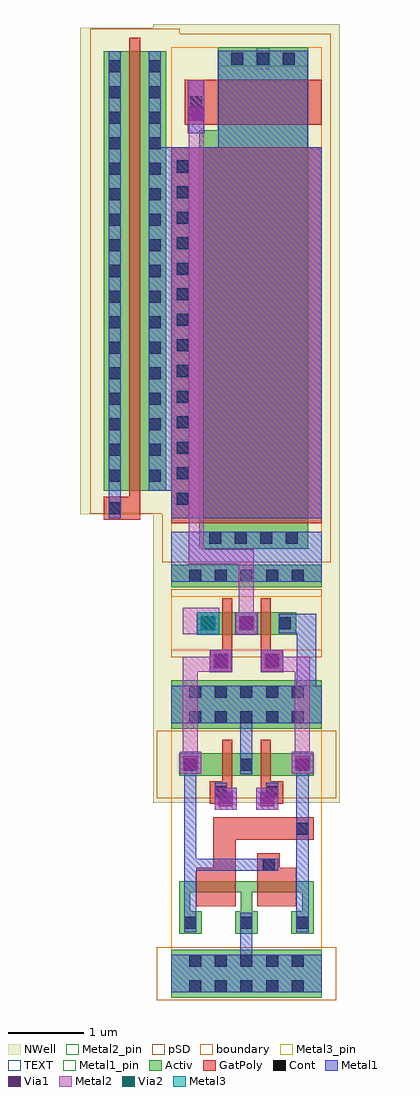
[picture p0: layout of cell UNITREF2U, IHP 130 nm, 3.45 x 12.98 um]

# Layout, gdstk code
from math import pi, radians
import gdstk
lib = gdstk.Library(unit=1e-6, precision=1e-09)
def R(c, l, rs):  # rectangles x0, y0, x1, y1
    for r in rs: c.add(gdstk.rectangle(r[:2], r[2:], *l))
def A(c, l, x, y, w, h, nx, ny, dx, dy):  # array of equal rectangles
    R(c, l, [(x+i*dx, y+j*dy, x+i*dx+w, y+j*dy+h) for i in range(nx) for j in range(ny)])
Activ = (1, 0)
GatPoly = (5, 0)
Cont = (6, 0)
Metal1 = (8, 0)
Metal1_pin = (8, 2)
Metal2 = (10, 0)
Metal2_pin = (10, 2)
pSD = (14, 0)
Via1 = (19, 0)
Via2 = (29, 0)
Metal3 = (30, 0)
Metal3_pin = (30, 2)
NWell = (31, 0)
TEXT = (63, 0)
boundary = (189, 4)

feol_contacts_4 = lib.new_cell('FEOL$contacts$4')
A(feol_contacts_4, Cont, 0.175, 0, 0.16, 0.16, 14, 1, 0.34, 0)
R(feol_contacts_4, Metal1, [(0,0,4.93,0.16)])

feol_contacts_7 = lib.new_cell('FEOL$contacts$7')
A(feol_contacts_7, Cont, 0.135, 0, 0.16, 0.16, 4, 1, 0.34, 0)
R(feol_contacts_7, Metal1, [(0,0,1.45,0.16)])

feol_contacts_5 = lib.new_cell('FEOL$contacts$5')
A(feol_contacts_5, Cont, 0.2, 0, 0.16, 0.16, 5, 1, 0.34, 0)
R(feol_contacts_5, Metal1, [(0,0,1.92,0.16)])

feol_contacts_6 = lib.new_cell('FEOL$contacts$6')
A(feol_contacts_6, Cont, 0.16, 0, 0.16, 0.16, 3, 1, 0.34, 0)
R(feol_contacts_6, Metal1, [(0,0,1.16,0.16)])

feol_contacts_1 = lib.new_cell('FEOL$contacts$1')
R(feol_contacts_1, Cont, [(0.18,0,0.34,0.16)])
R(feol_contacts_1, Metal1, [(0,0,0.52,0.16)])

pcsource2u = lib.new_cell('PCSOURCE2U')
R(pcsource2u, Activ, [(-1,-6.3,1,-6), (-0.63,-5.79,0.82,-0.22), (-0.38,-0.38,0.82,0.88)])
R(pcsource2u, GatPoly, [(-1,-5.45,1,-0.45), (-0.82,-0.15,1,0.45)])
R(pcsource2u, Metal1, [(-1,-6.23,1,-5.56), (-1,-5.38,1,-0.45), (-0.78,-0.265,-0.56,0.445), (-0.375,0.625,0.815,0.835)])
R(pcsource2u, Metal1_pin, [(-1,-6.23,1,-5.56), (-1,-5.38,1,-0.45), (-0.375,0.625,0.815,0.835)])
R(pcsource2u, Metal2, [(-0.78,-0.145,-0.56,0.445)])
R(pcsource2u, Metal2_pin, [(-0.775,-0.145,-0.565,0.445)])
R(pcsource2u, pSD, [(-1.12,-5.97,1.12,1.06)])
R(pcsource2u, Via1, [(-0.765,-0.095,-0.575,0.095)])
R(pcsource2u, NWell, [(-1.24,-6.54,1.24,1.19)])
R(pcsource2u, TEXT, [(0.14,0.585,0.3,0.875), (0.125,0.635,0.315,0.825)])
R(pcsource2u, boundary, [(-1,-6.3,1,0.88)])
pcsource2u.add(gdstk.Reference(feol_contacts_4, (-0.77,-5.38), rotation=pi/2))
pcsource2u.add(gdstk.Reference(feol_contacts_7, (-0.63,-5.72)))
pcsource2u.add(gdstk.Reference(feol_contacts_5, (-0.96,-6.23)))
pcsource2u.add(gdstk.Reference(feol_contacts_6, (-0.36,0.65)))
pcsource2u.add(gdstk.Reference(feol_contacts_1, (-0.59,-0.11), rotation=pi/2))
pcsource2u.add(gdstk.Label('Iout', (0.22,0.73), layer=8, texttype=2))
pcsource2u.add(gdstk.Label('VbiasP', (0,-2.915), layer=8, texttype=2))
pcsource2u.add(gdstk.Label('VDD', (0,-5.895), layer=8, texttype=2))
pcsource2u.add(gdstk.Label('VcascodeP', (-0.67,0), layer=10, texttype=2))

feol_contacts_2 = lib.new_cell('FEOL$contacts$2')
R(feol_contacts_2, Cont, [(0.05,0,0.21,0.16)])
R(feol_contacts_2, Metal1, [(0,0,0.26,0.16)])

via_stack_2 = lib.new_cell('via_stack$2')
R(via_stack_2, Metal1, [(-0.145,-0.145,0.145,0.145)])
R(via_stack_2, Metal2, [(-0.145,-0.145,0.145,0.145)])
R(via_stack_2, Via1, [(-0.095,-0.095,0.095,0.095)])

via_stack = lib.new_cell('via_stack')
R(via_stack, Metal1, [(-0.145,-0.145,0.145,0.145)])
R(via_stack, Metal2, [(-0.145,-0.145,0.145,0.145)])
R(via_stack, Via1, [(-0.095,-0.095,0.095,0.095)])
R(via_stack, Via2, [(-0.095,-0.095,0.095,0.095)])
R(via_stack, Metal3, [(-0.145,-0.145,0.145,0.145)])

dac_sw = lib.new_cell('DAC_SW')
R(dac_sw, Activ, [(-0.66,-0.15,0.66,0.15)])
R(dac_sw, GatPoly, [(-0.49,-0.65,-0.19,-0.35), (0.19,-0.65,0.49,-0.35), (-0.32,-0.375,-0.19,0.33), (0.19,-0.375,0.32,0.33)])
A(dac_sw, Cont, -0.59, -0.08, 0.16, 0.16, 3, 1, 0.51, 0)
A(dac_sw, Metal1, -0.59, -0.13, 0.16, 0.26, 3, 1, 0.51, 0)
R(dac_sw, Metal1, [(-0.49,-0.65,-0.19,-0.35), (0.19,-0.65,0.49,-0.35), (-0.66,-0.15,-0.36,0.15), (-0.15,-0.15,0.15,0.15)])
R(dac_sw, Metal2, [(-0.845,-0.145,-0.365,0.205)])
R(dac_sw, pSD, [(-1,-0.45,1,0.45)])
R(dac_sw, NWell, [(-1,-0.5,1,0.5)])
R(dac_sw, boundary, [(-1,-0.36,1,0.36)])
dac_sw.add(gdstk.FlexPath([(0.43,0),(0.8,0),(0.8,-0.985)], 0.26, ends="flush", simple_path=True, layer=8, datatype=0))  # Metal1
dac_sw.add(gdstk.FlexPath([(-0.745,-1.95),(-0.745,-0.545),(-0.24,-0.545)], 0.2, ends="flush", simple_path=True, layer=10, datatype=0))  # Metal2
dac_sw.add(gdstk.FlexPath([(0.74,-1.95),(0.74,-0.545),(0.24,-0.545)], 0.2, ends="flush", simple_path=True, layer=10, datatype=0))  # Metal2
dac_sw.add(gdstk.Reference(feol_contacts_2, (-0.26,-0.63), rotation=pi/2))
dac_sw.add(gdstk.Reference(feol_contacts_2, (0.42,-0.63), rotation=pi/2))
dac_sw.add(gdstk.Reference(via_stack_2, (-0.34,-0.5)))
dac_sw.add(gdstk.Reference(via_stack, (-0.51,0)))
dac_sw.add(gdstk.Reference(via_stack_2, (0.34,-0.5)))
dac_sw.add(gdstk.Reference(via_stack_2, (0,0)))

feol_contacts_3_1 = lib.new_cell('FEOL$contacts$3$1')
A(feol_contacts_3_1, Cont, 0.2, 0, 0.16, 0.16, 5, 2, 0.34, 0.34)
R(feol_contacts_3_1, Metal1, [(0,0,1.92,0.5)])

feol_contacts_1_1 = lib.new_cell('FEOL$contacts$1$1')
R(feol_contacts_1_1, Cont, [(0.05,0,0.21,0.16)])
R(feol_contacts_1_1, Metal1, [(0,0,0.26,0.16)])

via_stack_1_1 = lib.new_cell('via_stack$1$1')
R(via_stack_1_1, Metal1, [(-0.145,-0.145,0.145,0.145)])
R(via_stack_1_1, Metal2, [(-0.145,-0.145,0.145,0.145)])
R(via_stack_1_1, Via1, [(-0.095,-0.095,0.095,0.095)])

nonoverlap = lib.new_cell('NONOVERLAP')
A(nonoverlap, Activ, -0.895, -2.25, 0.3, 0.3, 3, 1, 0.745, 0)
R(nonoverlap, Activ, [(-1,-3.1,1,-2.46), (-0.895,-1.7,0.895,-1.55), (-0.895,-0.15,0.895,0.15), (-1,0.48,1,1.12)])
R(nonoverlap, GatPoly, [(-0.665,-1.88,-0.145,-1.37), (0.145,-1.88,0.665,-1.37), (0.145,-1.48,0.445,-1.18), (0.595,-1,0.895,-0.7), (-0.49,-0.52,-0.19,-0.22), (0.19,-0.52,0.49,-0.22), (-0.32,-0.33,-0.19,0.33), (0.19,-0.33,0.32,0.33)])
R(nonoverlap, Metal1, [(-1,-3.03,1,-2.53), (-1,0.55,1,1.05), (-1,0.55,1,1.05)])
R(nonoverlap, Metal1_pin, [(-1,-3.03,1,-2.53), (-1,0.55,1,1.05)])
R(nonoverlap, Metal2_pin, [(-0.42,-0.6,-0.13,-0.31), (0.13,-0.6,0.42,-0.31), (-0.89,-0.12,-0.6,0.17), (0.6,-0.12,0.89,0.17)])
R(nonoverlap, pSD, [(-1.195,-3.13,1.195,-2.43), (-1.195,-0.45,1.195,0.45)])
R(nonoverlap, NWell, [(-1.24,-0.505,1.24,1.44)])
R(nonoverlap, boundary, [(-1,-3.1,1,1.12)])
nonoverlap.add(gdstk.FlexPath([(0.38,-1.33),(-0.745,-1.33)], 0.16, ends="flush", simple_path=True, layer=8, datatype=0))  # Metal1
nonoverlap.add(gdstk.FlexPath([(-0.745,-2.02),(-0.745,-0.08)], 0.16, ends="flush", simple_path=True, layer=8, datatype=0))  # Metal1
nonoverlap.add(gdstk.FlexPath([(0.745,-2.02),(0.745,-0.08)], 0.16, ends="flush", simple_path=True, layer=8, datatype=0))  # Metal1
nonoverlap.add(gdstk.FlexPath([(0,-2.02),(0,-2.69)], 0.16, ends="flush", simple_path=True, layer=8, datatype=0))  # Metal1
nonoverlap.add(gdstk.FlexPath([(0,0.71),(0,-0.08)], 0.16, ends="flush", simple_path=True, layer=8, datatype=0))  # Metal1
nonoverlap.add(gdstk.FlexPath([(0,-1.63),(0,-2.18)], 0.15, ends="flush", simple_path=True, layer=1, datatype=0))  # Activ
nonoverlap.add(gdstk.FlexPath([(0.82,-1.635),(0.82,-2.18)], 0.15, ends="flush", simple_path=True, layer=1, datatype=0))  # Activ
nonoverlap.add(gdstk.FlexPath([(-0.82,-1.63),(-0.82,-2.18)], 0.15, ends="flush", simple_path=True, layer=1, datatype=0))  # Activ
nonoverlap.add(gdstk.FlexPath([(-0.295,-1.475),(-0.295,-0.85),(0.745,-0.85)], 0.3, ends="flush", simple_path=True, layer=5, datatype=0))  # GatPoly
nonoverlap.add(gdstk.Reference(feol_contacts_3_1, (-0.96,0.55)))
nonoverlap.add(gdstk.Reference(feol_contacts_1_1, (0.825,-0.13), rotation=pi/2))
nonoverlap.add(gdstk.Reference(feol_contacts_1_1, (0.08,-0.13), rotation=pi/2))
nonoverlap.add(gdstk.Reference(feol_contacts_1_1, (-0.665,-0.13), rotation=pi/2))
nonoverlap.add(gdstk.Reference(feol_contacts_1_1, (-0.26,-0.5), rotation=pi/2))
nonoverlap.add(gdstk.Reference(feol_contacts_1_1, (0.42,-0.5), rotation=pi/2))
nonoverlap.add(gdstk.Reference(feol_contacts_1_1, (-0.665,-2.23), rotation=pi/2))
nonoverlap.add(gdstk.Reference(feol_contacts_1_1, (0.165,-1.41)))
nonoverlap.add(gdstk.Reference(feol_contacts_1_1, (0.825,-2.23), rotation=pi/2))
nonoverlap.add(gdstk.Reference(feol_contacts_1_1, (0.08,-2.23), rotation=pi/2))
nonoverlap.add(gdstk.Reference(feol_contacts_3_1, (-0.96,-3.03)))
nonoverlap.add(gdstk.Reference(via_stack_1_1, (0.275,-0.455)))
nonoverlap.add(gdstk.Reference(via_stack_1_1, (-0.275,-0.455)))
nonoverlap.add(gdstk.Reference(via_stack_1_1, (0.745,0.025)))
nonoverlap.add(gdstk.Reference(via_stack_1_1, (-0.745,0.025)))
nonoverlap.add(gdstk.Reference(feol_contacts_1_1, (0.825,-0.98), rotation=pi/2))
nonoverlap.add(gdstk.Label('VSS', (0,-2.78), layer=8, texttype=2))
nonoverlap.add(gdstk.Label('VDD', (0,0.8), layer=8, texttype=2))
nonoverlap.add(gdstk.Label('OUTN', (-0.745,0.025), layer=10, texttype=2))
nonoverlap.add(gdstk.Label('INP', (-0.275,-0.455), layer=10, texttype=2))
nonoverlap.add(gdstk.Label('OUTP', (0.745,0.025), layer=10, texttype=2))
nonoverlap.add(gdstk.Label('INN', (0.275,-0.455), layer=10, texttype=2))

cascodedrive = lib.new_cell('CASCODEDRIVE')
cascodedrive.add(gdstk.Reference(dac_sw, (0,0)))
cascodedrive.add(gdstk.Reference(nonoverlap, (0,-1.88)))

unitsource2u = lib.new_cell('UNITSOURCE2U')
R(unitsource2u, Metal1_pin, [(-1,-4.91,1,-4.41), (-1,-1.33,1,-0.83), (-1,0.55,1,1.22), (-1,1.4,1,6.33), (-0.375,7.405,0.815,7.615)])
R(unitsource2u, Metal2_pin, [(-0.42,-2.48,-0.13,-2.19), (0.13,-2.48,0.42,-2.19)])
R(unitsource2u, Metal3_pin, [(-0.655,-0.145,-0.365,0.145)])
R(unitsource2u, NWell, [(-1.24,-2.385,1.24,7.97)])
unitsource2u.add(gdstk.FlexPath([(-0.67,6.685),(-0.67,0.885),(0,0.885),(0,0.095)], 0.2, ends="flush", simple_path=True, layer=10, datatype=0))  # Metal2
unitsource2u.add(gdstk.Reference(pcsource2u, (0,6.78)))
unitsource2u.add(gdstk.Reference(cascodedrive, (0,0)))
unitsource2u.add(gdstk.Label('VSS', (0,-4.66), layer=8, texttype=2))
unitsource2u.add(gdstk.Label('VDD', (0,-1.08), layer=8, texttype=2))
unitsource2u.add(gdstk.Label('VDD', (0,0.885), layer=8, texttype=2))
unitsource2u.add(gdstk.Label('VbiasP', (0,3.865), layer=8, texttype=2))
unitsource2u.add(gdstk.Label('Iout', (0.22,7.51), layer=8, texttype=2))
unitsource2u.add(gdstk.Label('ON', (-0.275,-2.335), layer=10, texttype=2))
unitsource2u.add(gdstk.Label('ONB', (0.275,-2.335), layer=10, texttype=2))
unitsource2u.add(gdstk.Label('VcascP', (-0.51,0), layer=30, texttype=2))

feol_contacts_3 = lib.new_cell('FEOL$contacts$3')
A(feol_contacts_3, Cont, 0.125, 0, 0.16, 0.16, 17, 1, 0.34, 0)
R(feol_contacts_3, Metal1, [(0,0,5.85,0.16)])

feol_contacts = lib.new_cell('FEOL$contacts')
R(feol_contacts, Cont, [(0.05,0,0.21,0.16)])
R(feol_contacts, Metal1, [(0,0,0.26,0.16)])

cascodebias = lib.new_cell('CASCODEBIAS')
R(cascodebias, Activ, [(-1.9,1.76,-1.07,7.61)])
R(cascodebias, GatPoly, [(-1.9,1.38,-1.41,1.68), (-1.56,1.68,-1.41,7.79)])
R(cascodebias, Metal1, [(-1.3,1.76,-0.77,6.33)])
R(cascodebias, pSD, [(-2.08,1.46,-0.89,7.91)])
R(cascodebias, NWell, [(-2.21,1.45,-0.76,7.92)])
cascodebias.add(gdstk.FlexPath([(-1.75,1.61),(-1.75,1.96)], 0.16, ends="flush", simple_path=True, layer=8, datatype=0))  # Metal1
cascodebias.add(gdstk.Reference(feol_contacts_3, (-1.67,1.76), rotation=pi/2))
cascodebias.add(gdstk.Reference(feol_contacts_3, (-1.14,1.76), rotation=pi/2))
cascodebias.add(gdstk.Reference(feol_contacts, (-1.67,1.4), rotation=pi/2))

unitref2u = lib.new_cell('UNITREF2U')
R(unitref2u, Metal1, [(-0.375,6.2,0.815,7.615)])
unitref2u.add(gdstk.Reference(unitsource2u, (0,0)))
unitref2u.add(gdstk.Reference(cascodebias, (0,0)))

lib.write_gds('UNITREF2U.gds')
